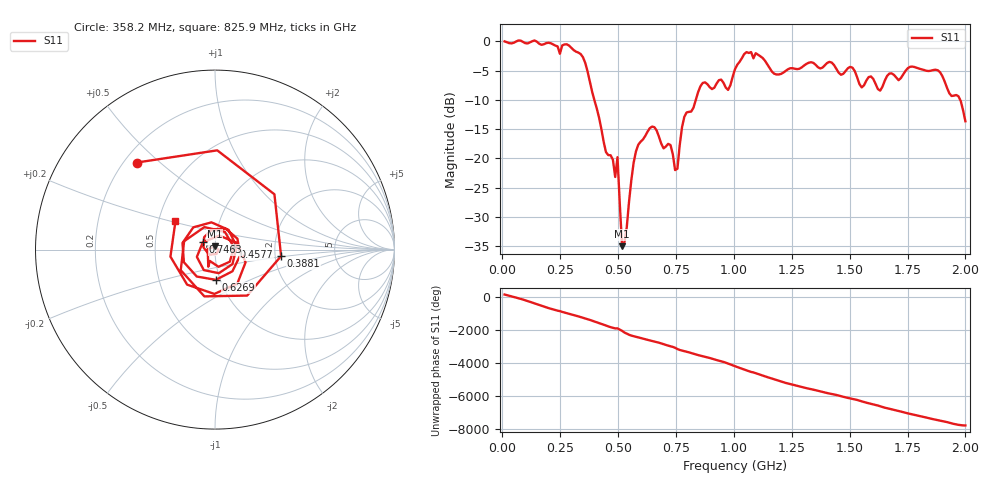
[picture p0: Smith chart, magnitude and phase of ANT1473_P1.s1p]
!Created with skrf (http://scikit-rf.org).
# Hz S RI R 50.0
!freq ReS11 ImS11
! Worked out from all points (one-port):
!   201 points, 10 MHz to 2 GHz, reference 50 ohm
!   lowest |S11| = -35.0 dB at 517.5 MHz (marker M1), VSWR 1.04, Z = 49.8 + j1.77 ohm
!   |S11| at or under -10 dB: 397.4 MHz to 835.9 MHz (438.6 MHz wide, 71.1 % of centre); 1.977 GHz to end of sweep
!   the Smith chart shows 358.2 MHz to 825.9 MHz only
!   S11 on the Smith chart (normalised r, x): 358.2 MHz: 0.25, +0.42; 388.1 MHz: 2.16, -0.18; 457.8 MHz: 1.24, +0.03; 626.9 MHz: 0.95, -0.33; 746.3 MHz: 0.87, +0.07; 825.9 MHz: 0.61, +0.21
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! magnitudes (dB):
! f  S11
! 10 MHz  0.0
! 258.8 MHz  -0.7
! 358.2 MHz  -3.7
! 388.1 MHz  -8.6
! 457.8 MHz  -19.4
! 487.6 MHz  -23.2
! 497.6 MHz  -19.8
! 507.5 MHz  -27.8
! 517.5 MHz  -35.0
! 537.4 MHz  -31.8
! 577.1 MHz  -18.8
! 626.9 MHz  -15.5
! 726.4 MHz  -17.7
! 746.3 MHz  -22.0
! 756.2 MHz  -21.8
! 786.1 MHz  -12.9
! 825.9 MHz  -11.3
! 865.7 MHz  -7.1
! 975.1 MHz  -8.3
! 1.005 GHz  -4.8
! 1.055 GHz  -1.9
! 1.174 GHz  -5.5
! 1.254 GHz  -4.6
! 1.502 GHz  -4.4
! 1.632 GHz  -8.4
! 1.751 GHz  -4.6
! 1.891 GHz  -5.3
! 2 GHz  -13.7
